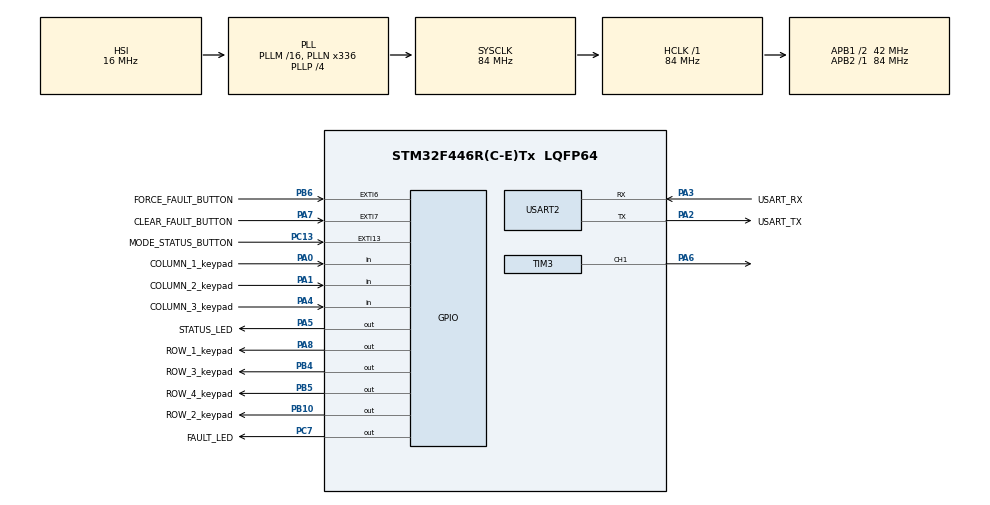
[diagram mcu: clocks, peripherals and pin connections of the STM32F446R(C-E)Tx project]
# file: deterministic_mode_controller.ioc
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Mcu.Family=STM32F4
Mcu.Name=STM32F446R(C-E)Tx
Mcu.Package=LQFP64
NVIC.EXTI15_10_IRQn=true\:0\:0\:false\:false\:true\:true\:true\:true
NVIC.EXTI9_5_IRQn=true\:0\:0\:false\:false\:true\:true\:true\:true
NVIC.PriorityGroup=NVIC_PRIORITYGROUP_0
NVIC.TIM2_IRQn=true\:0\:0\:false\:false\:true\:true\:true\:true
NVIC.USART2_IRQn=true\:0\:0\:false\:false\:true\:true\:true\:true
PA0-WKUP.GPIO_Label=COLUMN_1_keypad
PA0-WKUP.GPIO_PuPd=GPIO_PULLUP
PA0-WKUP.Signal=GPIO_Input
PA1.GPIO_Label=COLUMN_2_keypad
PA1.GPIO_PuPd=GPIO_PULLUP
PA1.Signal=GPIO_Input
PA13.GPIO_Label=TMS
PA13.Mode=Serial_Wire
PA13.Signal=SYS_JTMS-SWDIO
PA14.GPIO_Label=TCK
PA14.Mode=Serial_Wire
PA14.Signal=SYS_JTCK-SWCLK
PA2.GPIO_Label=USART_TX
PA2.Mode=Asynchronous
PA2.Signal=USART2_TX
PA3.GPIO_Label=USART_RX
PA3.Mode=Asynchronous
PA3.Signal=USART2_RX
PA4.GPIO_Label=COLUMN_3_keypad
PA4.GPIO_PuPd=GPIO_PULLUP
PA4.Signal=GPIO_Input
PA5.GPIO_Label=STATUS_LED
PA5.Signal=GPIO_Output
PA6.Signal=S_TIM3_CH1
PA7.GPIO_Label=CLEAR_FAULT_BUTTON
PA7.GPIO_ModeDefaultEXTI=GPIO_MODE_IT_FALLING
PA7.GPIO_PuPd=GPIO_PULLUP
PA7.Signal=GPXTI7
PA8.GPIO_Label=ROW_1_keypad
PA8.PinState=GPIO_PIN_SET
PA8.Signal=GPIO_Output
PB10.GPIO_Label=ROW_2_keypad
PB10.PinState=GPIO_PIN_SET
PB10.Signal=GPIO_Output
PB3.GPIO_Label=SWO
PB3.Signal=SYS_JTDO-SWO
PB4.GPIO_Label=ROW_3_keypad
PB4.PinState=GPIO_PIN_SET
PB4.Signal=GPIO_Output
PB5.GPIO_Label=ROW_4_keypad
PB5.PinState=GPIO_PIN_SET
PB5.Signal=GPIO_Output
PB6.GPIO_Label=FORCE_FAULT_BUTTON
PB6.GPIO_ModeDefaultEXTI=GPIO_MODE_IT_FALLING
PB6.GPIO_PuPd=GPIO_PULLUP
PB6.Signal=GPXTI6
PC13.GPIO_Label=MODE_STATUS_BUTTON
PC13.GPIO_ModeDefaultEXTI=GPIO_MODE_IT_FALLING
PC13.Signal=GPXTI13
PC14-OSC32_IN.Mode=LSE-External-Oscillator
PC14-OSC32_IN.Signal=RCC_OSC32_IN
PC15-OSC32_OUT.Mode=LSE-External-Oscillator
PC15-OSC32_OUT.Signal=RCC_OSC32_OUT
PC7.GPIO_Label=FAULT_LED
PC7.Signal=GPIO_Output
PH0-OSC_IN.Mode=HSE-External-Oscillator
PH0-OSC_IN.Signal=RCC_OSC_IN
PH1-OSC_OUT.Mode=HSE-External-Oscillator
PH1-OSC_OUT.Signal=RCC_OSC_OUT
ProjectManager.HeapSize=0x200
ProjectManager.StackSize=0x400
ProjectManager.TargetToolchain=STM32CubeIDE
RCC.48MHZClocksFreq_Value=84000000
RCC.AHBFreq_Value=84000000
RCC.APB1CLKDivider=RCC_HCLK_DIV2
RCC.APB1Freq_Value=42000000
RCC.APB1TimFreq_Value=84000000
RCC.APB2Freq_Value=84000000
RCC.APB2TimFreq_Value=84000000
RCC.CortexFreq_Value=84000000
RCC.FLatency-AdvancedSettings=FLASH_LATENCY_2
RCC.HCLKFreq_Value=84000000
RCC.HSE_VALUE=8000000
RCC.HSI_VALUE=16000000
RCC.PLLN=336
RCC.PLLP=RCC_PLLP_DIV4
RCC.SYSCLKFreq_VALUE=84000000
RCC.SYSCLKSource=RCC_SYSCLKSOURCE_PLLCLK
RCC.USBFreq_Value=168000000
RCC.VCOOutputFreq_Value=336000000
SH.S_TIM3_CH1.0=TIM3_CH1,PWM Generation1 CH1
TIM2.Period=9
TIM2.Prescaler=8399
TIM3.Channel-PWM\ Generation1\ CH1=TIM_CHANNEL_1
TIM3.Period=999
TIM3.Prescaler=83
USART2.VirtualMode=VM_ASYNC
VP_TIM2_VS_ClockSourceINT.Mode=Internal
VP_TIM3_VS_ClockSourceINT.Mode=Internal
board=NUCLEO-F446RE

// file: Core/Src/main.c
/* USER CODE BEGIN Header */
/**
  ******************************************************************************
  * @file           : main.c
  * @brief          : Main program body
  ******************************************************************************
  * @attention
  *
  * Copyright (c) 2026 STMicroelectronics.
  * All rights reserved.
  *
  * This software is licensed under terms that can be found in the LICENSE file
  * in the root directory of this software component.
  * If no LICENSE file comes with this software, it is provided AS-IS.
  *
  ******************************************************************************
  */
/* USER CODE END Header */
#include "main.h"

/* USER CODE BEGIN Includes */
#include <string.h>
#include <stdlib.h>

/* USER CODE END Includes */

/* USER CODE BEGIN PD */
#define RX_BUFFER_SIZE 64
/* USER CODE END PD */

TIM_HandleTypeDef htim2;
TIM_HandleTypeDef htim3;

UART_HandleTypeDef huart2;

/* USER CODE BEGIN PV */
volatile uint8_t mode_button_flag=0;

typedef enum{
	INIT=0,
	IDLE,
	MANUAL,
	LOCK,
	AUTO_RAMP,
	FAULT
}button_state;

typedef enum{
	PAUSE=0,
	BLINKING
}blink_state;

volatile blink_state blink_mode = PAUSE;
volatile button_state mode_button_state = INIT;
static uint8_t status_led_state=0;
volatile uint32_t system_tick=0;
static uint16_t toggleCounter=0;
static uint32_t state_entry_time=0;
static uint32_t last_button_press=0;
static uint32_t last_fault_button_press=0;
static uint32_t last_clear_button_press=0;
static uint32_t status_led_last_toggle_time=0;
static uint16_t brightness=0;
volatile uint8_t fault_flag=0;
volatile uint8_t clear_fault_flag=0;
static uint32_t last_keypad_scan=0;
static char key = 0;
static char last_key = 0;
static char detected = 0;
static uint16_t input_value = 0;
static uint8_t rx_buf[RX_BUFFER_SIZE];
volatile uint8_t rx_idx=0;
volatile uint8_t cmd_ready=0;
static uint8_t rx_byte;
volatile uint8_t enter_flag=0;
volatile uint8_t tx_echo_flag = 0;
volatile uint8_t tx_backspace_flag = 0;
volatile uint8_t tx_newline_flag = 0;
static uint8_t tx_char;
char handle_key(uint16_t row, uint8_t column);
char keypad_scan(void);
void process_key(char k);
void update_fault_led(void);
void change_button_mode(void);
void update_PWM_led(void);
void update_status_led(void);
void set_row(uint16_t row);
void set_row_high(void);
void Toggle_Status_Led(uint8_t led);
void status_double_blink(void);
void process_cli_cmd(void);
/* USER CODE END PV */

void SystemClock_Config(void);
static void MX_GPIO_Init(void);
static void MX_USART2_UART_Init(void);
static void MX_TIM2_Init(void);
static void MX_TIM3_Init(void);

int main(void)
{

  /* MCU Configuration--------------------------------------------------------*/

  /* Reset of all peripherals, Initializes the Flash interface and the Systick. */
  HAL_Init();

  /* Configure the system clock */
  SystemClock_Config();

  /* Initialize all configured peripherals */
  MX_GPIO_Init();
  MX_USART2_UART_Init();
  MX_TIM2_Init();
  MX_TIM3_Init();
  /* USER CODE BEGIN 2 */
  HAL_UART_Receive_IT(&huart2, &rx_byte, 1);
  HAL_Delay(1000);
  HAL_TIM_PWM_Start(&htim3, TIM_CHANNEL_1);
  HAL_TIM_Base_Start_IT(&htim2);
  state_entry_time = system_tick;
  HAL_GPIO_WritePin(STATUS_LED_GPIO_Port,STATUS_LED_Pin,GPIO_PIN_SET);
  /* USER CODE END 2 */

  /* Infinite loop */
  while (1)
  {

    /* USER CODE BEGIN 3 */
	  if(mode_button_state==INIT && system_tick-state_entry_time>=500)
	  {
		  HAL_GPIO_WritePin(STATUS_LED_GPIO_Port,STATUS_LED_Pin,GPIO_PIN_RESET);
		  mode_button_state = IDLE;
		  state_entry_time = system_tick;
	  }

	  if(fault_flag)
	  {
		  mode_button_state = FAULT;
		  fault_flag=0;
	  }
	  if(clear_fault_flag == 1 && mode_button_state == FAULT)
	  {
		  clear_fault_flag = 0;
		  mode_button_state = IDLE;
	  }

	  if(system_tick - last_keypad_scan >= 20)
	  {
		  last_keypad_scan = system_tick;
		  detected = keypad_scan();

		  if(detected !=0 && last_key == 0 && mode_button_state != LOCK)
		  {
			  key = detected;
			  process_key(key);
		  }
		  last_key = detected;
	  }
	  if(tx_echo_flag)
	  {
	      tx_echo_flag = 0;
	      HAL_UART_Transmit(&huart2, &tx_char, 1, HAL_MAX_DELAY);
	  }

	  if(tx_backspace_flag)
	  {
	      tx_backspace_flag = 0;
	      const char bs_seq[] = "\b \b";
	      HAL_UART_Transmit(&huart2, (uint8_t*)bs_seq, sizeof(bs_seq)-1, HAL_MAX_DELAY);
	  }

	  if(tx_newline_flag)
	  {
	      tx_newline_flag = 0;
	      const char newline[] = "\r\n";
	      HAL_UART_Transmit(&huart2, (uint8_t*)newline, sizeof(newline)-1, HAL_MAX_DELAY);
	  }
	  if(cmd_ready == 1 && mode_button_state == MANUAL)
	  {
		  cmd_ready = 0;
		  process_cli_cmd();
	  }

	  update_fault_led();
	  change_button_mode();
	  update_PWM_led();
	  update_status_led();
  /* USER CODE END 3 */
  }
}

void SystemClock_Config(void)
{
  RCC_OscInitTypeDef RCC_OscInitStruct = {0};
  RCC_ClkInitTypeDef RCC_ClkInitStruct = {0};

  /** Configure the main internal regulator output voltage
  */
  __HAL_RCC_PWR_CLK_ENABLE();
  __HAL_PWR_VOLTAGESCALING_CONFIG(PWR_REGULATOR_VOLTAGE_SCALE3);

  /** Initializes the RCC Oscillators according to the specified parameters
  * in the RCC_OscInitTypeDef structure.
  */
  RCC_OscInitStruct.OscillatorType = RCC_OSCILLATORTYPE_HSI;
  RCC_OscInitStruct.HSIState = RCC_HSI_ON;
  RCC_OscInitStruct.HSICalibrationValue = RCC_HSICALIBRATION_DEFAULT;
  RCC_OscInitStruct.PLL.PLLState = RCC_PLL_ON;
  RCC_OscInitStruct.PLL.PLLSource = RCC_PLLSOURCE_HSI;
  RCC_OscInitStruct.PLL.PLLM = 16;
  RCC_OscInitStruct.PLL.PLLN = 336;
  RCC_OscInitStruct.PLL.PLLP = RCC_PLLP_DIV4;
  RCC_OscInitStruct.PLL.PLLQ = 2;
  RCC_OscInitStruct.PLL.PLLR = 2;
  if (HAL_RCC_OscConfig(&RCC_OscInitStruct) != HAL_OK)
  {
    Error_Handler();
  }

  /** Initializes the CPU, AHB and APB buses clocks
  */
  RCC_ClkInitStruct.ClockType = RCC_CLOCKTYPE_HCLK|RCC_CLOCKTYPE_SYSCLK
                              |RCC_CLOCKTYPE_PCLK1|RCC_CLOCKTYPE_PCLK2;
  RCC_ClkInitStruct.SYSCLKSource = RCC_SYSCLKSOURCE_PLLCLK;
  RCC_ClkInitStruct.AHBCLKDivider = RCC_SYSCLK_DIV1;
  RCC_ClkInitStruct.APB1CLKDivider = RCC_HCLK_DIV2;
  RCC_ClkInitStruct.APB2CLKDivider = RCC_HCLK_DIV1;

  if (HAL_RCC_ClockConfig(&RCC_ClkInitStruct, FLASH_LATENCY_2) != HAL_OK)
  {
    Error_Handler();
  }
}

static void MX_TIM2_Init(void)
{

  TIM_ClockConfigTypeDef sClockSourceConfig = {0};
  TIM_MasterConfigTypeDef sMasterConfig = {0};

  htim2.Instance = TIM2;
  htim2.Init.Prescaler = 8399;
  htim2.Init.CounterMode = TIM_COUNTERMODE_UP;
  htim2.Init.Period = 9;
  htim2.Init.ClockDivision = TIM_CLOCKDIVISION_DIV1;
  htim2.Init.AutoReloadPreload = TIM_AUTORELOAD_PRELOAD_DISABLE;
  if (HAL_TIM_Base_Init(&htim2) != HAL_OK)
  {
    Error_Handler();
  }
  sClockSourceConfig.ClockSource = TIM_CLOCKSOURCE_INTERNAL;
  if (HAL_TIM_ConfigClockSource(&htim2, &sClockSourceConfig) != HAL_OK)
  {
    Error_Handler();
  }
  sMasterConfig.MasterOutputTrigger = TIM_TRGO_RESET;
  sMasterConfig.MasterSlaveMode = TIM_MASTERSLAVEMODE_DISABLE;
  if (HAL_TIMEx_MasterConfigSynchronization(&htim2, &sMasterConfig) != HAL_OK)
  {
    Error_Handler();
  }

}

static void MX_TIM3_Init(void)
{

  TIM_ClockConfigTypeDef sClockSourceConfig = {0};
  TIM_MasterConfigTypeDef sMasterConfig = {0};
  TIM_OC_InitTypeDef sConfigOC = {0};

  htim3.Instance = TIM3;
  htim3.Init.Prescaler = 83;
  htim3.Init.CounterMode = TIM_COUNTERMODE_UP;
  htim3.Init.Period = 999;
  htim3.Init.ClockDivision = TIM_CLOCKDIVISION_DIV1;
  htim3.Init.AutoReloadPreload = TIM_AUTORELOAD_PRELOAD_DISABLE;
  if (HAL_TIM_Base_Init(&htim3) != HAL_OK)
  {
    Error_Handler();
  }
  sClockSourceConfig.ClockSource = TIM_CLOCKSOURCE_INTERNAL;
  if (HAL_TIM_ConfigClockSource(&htim3, &sClockSourceConfig) != HAL_OK)
  {
    Error_Handler();
  }
  if (HAL_TIM_PWM_Init(&htim3) != HAL_OK)
  {
    Error_Handler();
  }
  sMasterConfig.MasterOutputTrigger = TIM_TRGO_RESET;
  sMasterConfig.MasterSlaveMode = TIM_MASTERSLAVEMODE_DISABLE;
  if (HAL_TIMEx_MasterConfigSynchronization(&htim3, &sMasterConfig) != HAL_OK)
  {
    Error_Handler();
  }
  sConfigOC.OCMode = TIM_OCMODE_PWM1;
  sConfigOC.Pulse = 0;
  sConfigOC.OCPolarity = TIM_OCPOLARITY_HIGH;
  sConfigOC.OCFastMode = TIM_OCFAST_DISABLE;
  if (HAL_TIM_PWM_ConfigChannel(&htim3, &sConfigOC, TIM_CHANNEL_1) != HAL_OK)
  {
    Error_Handler();
  }
  HAL_TIM_MspPostInit(&htim3);

}

static void MX_USART2_UART_Init(void)
{

  huart2.Instance = USART2;
  huart2.Init.BaudRate = 115200;
  huart2.Init.WordLength = UART_WORDLENGTH_8B;
  huart2.Init.StopBits = UART_STOPBITS_1;
  huart2.Init.Parity = UART_PARITY_NONE;
  huart2.Init.Mode = UART_MODE_TX_RX;
  huart2.Init.HwFlowCtl = UART_HWCONTROL_NONE;
  huart2.Init.OverSampling = UART_OVERSAMPLING_16;
  if (HAL_UART_Init(&huart2) != HAL_OK)
  {
    Error_Handler();
  }

}

static void MX_GPIO_Init(void)
{
  GPIO_InitTypeDef GPIO_InitStruct = {0};

  /* GPIO Ports Clock Enable */
  __HAL_RCC_GPIOC_CLK_ENABLE();
  __HAL_RCC_GPIOH_CLK_ENABLE();
  __HAL_RCC_GPIOA_CLK_ENABLE();
  __HAL_RCC_GPIOB_CLK_ENABLE();

  /*Configure GPIO pin Output Level */
  HAL_GPIO_WritePin(STATUS_LED_GPIO_Port, STATUS_LED_Pin, GPIO_PIN_RESET);

  /*Configure GPIO pin Output Level */
  HAL_GPIO_WritePin(GPIOB, ROW_2_keypad_Pin|ROW_3_keypad_Pin|ROW_4_keypad_Pin, GPIO_PIN_SET);

  /*Configure GPIO pin Output Level */
  HAL_GPIO_WritePin(FAULT_LED_GPIO_Port, FAULT_LED_Pin, GPIO_PIN_RESET);

  /*Configure GPIO pin Output Level */
  HAL_GPIO_WritePin(ROW_1_keypad_GPIO_Port, ROW_1_keypad_Pin, GPIO_PIN_SET);

  /*Configure GPIO pin : MODE_STATUS_BUTTON_Pin */
  GPIO_InitStruct.Pin = MODE_STATUS_BUTTON_Pin;
  GPIO_InitStruct.Mode = GPIO_MODE_IT_FALLING;
  GPIO_InitStruct.Pull = GPIO_NOPULL;
  HAL_GPIO_Init(MODE_STATUS_BUTTON_GPIO_Port, &GPIO_InitStruct);

  /*Configure GPIO pins : COLUMN_1_keypad_Pin COLUMN_2_keypad_Pin COLUMN_3_keypad_Pin */
  GPIO_InitStruct.Pin = COLUMN_1_keypad_Pin|COLUMN_2_keypad_Pin|COLUMN_3_keypad_Pin;
  GPIO_InitStruct.Mode = GPIO_MODE_INPUT;
  GPIO_InitStruct.Pull = GPIO_PULLUP;
  HAL_GPIO_Init(GPIOA, &GPIO_InitStruct);

  /*Configure GPIO pins : STATUS_LED_Pin ROW_1_keypad_Pin */
  GPIO_InitStruct.Pin = STATUS_LED_Pin|ROW_1_keypad_Pin;
  GPIO_InitStruct.Mode = GPIO_MODE_OUTPUT_PP;
  GPIO_InitStruct.Pull = GPIO_NOPULL;
  GPIO_InitStruct.Speed = GPIO_SPEED_FREQ_LOW;
  HAL_GPIO_Init(GPIOA, &GPIO_InitStruct);

  /*Configure GPIO pin : CLEAR_FAULT_BUTTON_Pin */
  GPIO_InitStruct.Pin = CLEAR_FAULT_BUTTON_Pin;
  GPIO_InitStruct.Mode = GPIO_MODE_IT_FALLING;
  GPIO_InitStruct.Pull = GPIO_PULLUP;
  HAL_GPIO_Init(CLEAR_FAULT_BUTTON_GPIO_Port, &GPIO_InitStruct);

  /*Configure GPIO pins : ROW_2_keypad_Pin ROW_3_keypad_Pin ROW_4_keypad_Pin */
  GPIO_InitStruct.Pin = ROW_2_keypad_Pin|ROW_3_keypad_Pin|ROW_4_keypad_Pin;
  GPIO_InitStruct.Mode = GPIO_MODE_OUTPUT_PP;
  GPIO_InitStruct.Pull = GPIO_NOPULL;
  GPIO_InitStruct.Speed = GPIO_SPEED_FREQ_LOW;
  HAL_GPIO_Init(GPIOB, &GPIO_InitStruct);

  /*Configure GPIO pin : FAULT_LED_Pin */
  GPIO_InitStruct.Pin = FAULT_LED_Pin;
  GPIO_InitStruct.Mode = GPIO_MODE_OUTPUT_PP;
  GPIO_InitStruct.Pull = GPIO_NOPULL;
  GPIO_InitStruct.Speed = GPIO_SPEED_FREQ_LOW;
  HAL_GPIO_Init(FAULT_LED_GPIO_Port, &GPIO_InitStruct);

  /*Configure GPIO pin : FORCE_FAULT_BUTTON_Pin */
  GPIO_InitStruct.Pin = FORCE_FAULT_BUTTON_Pin;
  GPIO_InitStruct.Mode = GPIO_MODE_IT_FALLING;
  GPIO_InitStruct.Pull = GPIO_PULLUP;
  HAL_GPIO_Init(FORCE_FAULT_BUTTON_GPIO_Port, &GPIO_InitStruct);

  /* EXTI interrupt init*/
  HAL_NVIC_SetPriority(EXTI9_5_IRQn, 0, 0);
  HAL_NVIC_EnableIRQ(EXTI9_5_IRQn);

  HAL_NVIC_SetPriority(EXTI15_10_IRQn, 0, 0);
  HAL_NVIC_EnableIRQ(EXTI15_10_IRQn);

}

/* USER CODE BEGIN 4 */
void change_button_mode()
{
	if(mode_button_state == FAULT)
	{
		return;
	}
	else if(mode_button_flag)
	{
		mode_button_flag=0;
		switch(mode_button_state)
		{
		case IDLE:
			mode_button_state = MANUAL;
			state_entry_time = system_tick;
			brightness=0;
			__HAL_TIM_SET_COMPARE(&htim3, TIM_CHANNEL_1, brightness);
			break;

		case MANUAL:
			input_value = 0;
			mode_button_state = LOCK;
			state_entry_time = system_tick;
			break;

		case LOCK:
			mode_button_state = AUTO_RAMP;
			state_entry_time = system_tick;
			blink_mode = PAUSE;
			status_led_last_toggle_time = system_tick;
			toggleCounter = 0;
			break;

		case AUTO_RAMP:
			mode_button_state = IDLE;
			state_entry_time = system_tick;
			brightness = 0;
			break;

		default:
			mode_button_state = IDLE;
			state_entry_time = system_tick;
			break;
		}
	}

}

void process_cli_cmd(void)
{
	uint16_t value = atoi((char*)rx_buf);

	if(value <= 999)
	{
		brightness = value;
	}
	const char msg[] = "Enter LED Brightness (0-999): ";
	HAL_UART_Transmit(&huart2, (uint8_t*)msg, strlen(msg), HAL_MAX_DELAY);
}

char keypad_scan()
{
	for(uint16_t row=0; row<4; row++)
	{
		set_row_high();
		set_row(row);

		if(HAL_GPIO_ReadPin(COLUMN_1_keypad_GPIO_Port, COLUMN_1_keypad_Pin) == GPIO_PIN_RESET)
		{
			return handle_key(row, 1);
		}
		else if(HAL_GPIO_ReadPin(COLUMN_2_keypad_GPIO_Port, COLUMN_2_keypad_Pin) == GPIO_PIN_RESET)
		{
			return handle_key(row, 2);
		}
		else if(HAL_GPIO_ReadPin(COLUMN_3_keypad_GPIO_Port, COLUMN_3_keypad_Pin) == GPIO_PIN_RESET)
		{
			return handle_key(row, 3);
		}
	}
	return 0;
}

void set_row_high()
{
	HAL_GPIO_WritePin(ROW_1_keypad_GPIO_Port, ROW_1_keypad_Pin, GPIO_PIN_SET);
	HAL_GPIO_WritePin(ROW_2_keypad_GPIO_Port, ROW_2_keypad_Pin, GPIO_PIN_SET);
	HAL_GPIO_WritePin(ROW_3_keypad_GPIO_Port, ROW_3_keypad_Pin, GPIO_PIN_SET);
	HAL_GPIO_WritePin(ROW_4_keypad_GPIO_Port, ROW_4_keypad_Pin, GPIO_PIN_SET);

}

void set_row(uint16_t row)
{
	if(row == 0)
	{
		HAL_GPIO_WritePin(ROW_1_keypad_GPIO_Port, ROW_1_keypad_Pin, GPIO_PIN_RESET);
	}
	else if(row == 1)
	{
		HAL_GPIO_WritePin(ROW_2_keypad_GPIO_Port, ROW_2_keypad_Pin, GPIO_PIN_RESET);
	}
	else if(row == 2)
	{
		HAL_GPIO_WritePin(ROW_3_keypad_GPIO_Port, ROW_3_keypad_Pin, GPIO_PIN_RESET);
	}
	else if(row == 3)
	{
		HAL_GPIO_WritePin(ROW_4_keypad_GPIO_Port, ROW_4_keypad_Pin, GPIO_PIN_RESET);
	}
}

char handle_key(uint16_t row, uint8_t column)
{
	if(row == 0 && column == 1){ return '1';}
	else if(row == 0 && column == 2){ return '2';}
	else if(row == 0 && column == 3){ return '3';}
	else if(row == 1 && column == 1){ return '4';}
	else if(row == 1 && column == 2){ return '5';}
	else if(row == 1 && column == 3){ return '6';}
	else if(row == 2 && column == 1){ return '7';}
	else if(row == 2 && column == 2){ return '8';}
	else if(row == 2 && column == 3){ return '9';}
	else if(row == 3 && column == 1){ return '*';}
	else if(row == 3 && column == 2){ return '0';}
	else if(row == 3 && column == 3){ return '#';}
	return 0;
}

void process_key(char k)
{
	if(k >= '0' && k <= '9')
	{
		input_value = (input_value * 10) + (k - '0');
		if(input_value >= 999){input_value = 999;}
	}
	else if(k == '#')
	{
		brightness = input_value;
		input_value = 0;
	}
	else if(k == '*')
	{
		input_value = 0;
	}

}

void update_fault_led()
{
	switch(mode_button_state)
	{
    case IDLE:
    	HAL_GPIO_WritePin(FAULT_LED_GPIO_Port, FAULT_LED_Pin, GPIO_PIN_RESET);
    	break;

    case MANUAL:
    	HAL_GPIO_WritePin(FAULT_LED_GPIO_Port, FAULT_LED_Pin, GPIO_PIN_RESET);
    	break;

    case LOCK:
    	HAL_GPIO_WritePin(FAULT_LED_GPIO_Port, FAULT_LED_Pin, GPIO_PIN_RESET);
    	break;

    case AUTO_RAMP:
    	HAL_GPIO_WritePin(FAULT_LED_GPIO_Port, FAULT_LED_Pin, GPIO_PIN_RESET);
       	break;

    case FAULT:
    	HAL_GPIO_WritePin(FAULT_LED_GPIO_Port, FAULT_LED_Pin, GPIO_PIN_SET);
    	break;

    default:
    	HAL_GPIO_WritePin(FAULT_LED_GPIO_Port, FAULT_LED_Pin, GPIO_PIN_RESET);
    	break;
	}
}

void update_PWM_led()
{
	switch(mode_button_state)
	{
    case IDLE:
    	brightness=0;
    	__HAL_TIM_SET_COMPARE(&htim3, TIM_CHANNEL_1, brightness);
    	break;

    case MANUAL:
    	__HAL_TIM_SET_COMPARE(&htim3, TIM_CHANNEL_1, brightness);
    	break;

    case LOCK:
    	__HAL_TIM_SET_COMPARE(&htim3, TIM_CHANNEL_1, brightness);
    	break;

    case AUTO_RAMP:
    	static uint32_t last_ramp_time=0;
    	static uint8_t ramp_flag=0;
    	if(system_tick - last_ramp_time >= 10)
    	{
    		last_ramp_time = system_tick;
    		if(ramp_flag==0)
    		{
    			brightness++;
    			if(brightness>=999)
    			{
    				ramp_flag=1;
    				brightness=999;
    			}
    		}
    		else
    		{
    			if(brightness>0)
    			{
    				brightness--;
    			}
    			else
    			{
    				brightness=0;
    				ramp_flag=0;
    			}
    		}
			__HAL_TIM_SET_COMPARE(&htim3, TIM_CHANNEL_1, brightness);
    	}
       	break;

    case FAULT:
    	brightness=0;
    	__HAL_TIM_SET_COMPARE(&htim3, TIM_CHANNEL_1, brightness);
    	break;

    default:
    	brightness=0;
    	__HAL_TIM_SET_COMPARE(&htim3, TIM_CHANNEL_1, brightness);
    	break;
	}
}

void update_status_led()
{
	switch(mode_button_state)
	{
    case IDLE:
    	if(system_tick - status_led_last_toggle_time>=500)
    	{
    		status_led_last_toggle_time = system_tick;
    		HAL_GPIO_TogglePin(STATUS_LED_GPIO_Port,STATUS_LED_Pin);
    	}
    	break;

    case MANUAL:
    	status_led_state=1;
    	Toggle_Status_Led(status_led_state);
    	break;

    case LOCK:
    	status_double_blink();
    	break;

    case AUTO_RAMP:
    	if(system_tick - status_led_last_toggle_time>=200)
    	{
    		status_led_last_toggle_time = system_tick;
    		HAL_GPIO_TogglePin(STATUS_LED_GPIO_Port,STATUS_LED_Pin);
    	}
       	break;

    case FAULT:
    	status_led_state=0;
    	Toggle_Status_Led(status_led_state);
    	status_led_last_toggle_time = system_tick;
    	break;

    default:
    	toggleCounter=0;
    	break;
	}
}

void status_double_blink()
{
	switch(blink_mode)
	{
	case PAUSE:
		status_led_state=0;
		Toggle_Status_Led(status_led_state);
		if(system_tick-status_led_last_toggle_time>=500)
		{
			status_led_last_toggle_time = system_tick;
			toggleCounter=0;
			blink_mode = BLINKING;
		}
		break;

	case BLINKING:
		if(system_tick-status_led_last_toggle_time>=200)
		{
			status_led_last_toggle_time = system_tick;
			status_led_state^=1;
			Toggle_Status_Led(status_led_state);
			toggleCounter++;
			if(toggleCounter>=4)
			{
				toggleCounter=0;
				blink_mode = PAUSE;
			}

		}
		break;

	default:
		toggleCounter=0;
		status_led_state=0;
		Toggle_Status_Led(status_led_state);

	}
}

void Toggle_Status_Led(uint8_t led)
{
	if(led==0)
	{
		HAL_GPIO_WritePin(STATUS_LED_GPIO_Port,STATUS_LED_Pin,GPIO_PIN_RESET);
	}
	else
	{
		HAL_GPIO_WritePin(STATUS_LED_GPIO_Port,STATUS_LED_Pin,GPIO_PIN_SET);
	}
}

void HAL_GPIO_EXTI_Callback(uint16_t GPIO_Pin)
{
	if(GPIO_Pin == MODE_STATUS_BUTTON_Pin)
	{
		if(system_tick - last_button_press >= 200)
		{
			mode_button_flag=1;
			last_button_press=system_tick;
		}
	}
	else if(GPIO_Pin == FORCE_FAULT_BUTTON_Pin)
	{
		if(system_tick - last_fault_button_press >= 200)
		{
			fault_flag=1;
			last_fault_button_press = system_tick;
		}
	}
	else if(GPIO_Pin == CLEAR_FAULT_BUTTON_Pin)
	{
		if(system_tick - last_clear_button_press >= 200)
		{
			if(mode_button_state == FAULT)
			{
				clear_fault_flag=1;
				last_clear_button_press = system_tick;
			}
		}

	}
}

void HAL_TIM_PeriodElapsedCallback(TIM_HandleTypeDef *htim)
{
	if(htim->Instance == TIM2)
	{
		system_tick++;
	}
}

void HAL_UART_RxCpltCallback(UART_HandleTypeDef *huart)
{
	if(huart->Instance == USART2)
	{
		if(cmd_ready == 0)
		{
			if(rx_byte == '\n' || rx_byte == '\r')
			{
				rx_buf[rx_idx] = '\0';
				cmd_ready = 1;
				rx_idx = 0;
				tx_newline_flag = 1;
			}
			else if(rx_byte == '\b' || rx_byte == 127)
			{
				if(rx_idx > 0)
				{
					rx_idx --;
					rx_buf[rx_idx] = '\0';
					tx_backspace_flag = 1;
				}
			}
			else
			{
				if(rx_idx < RX_BUFFER_SIZE - 1)
				{
					rx_buf[rx_idx] = rx_byte;
					rx_idx++;
					tx_char = rx_byte;
					tx_echo_flag = 1;
				}
				else
				{
					rx_idx = 0;
				}
			}
		}
		HAL_UART_Receive_IT(&huart2, &rx_byte, 1);
	}
}
/* USER CODE END 4 */

void Error_Handler(void)
{
  __disable_irq();
  while (1)
  {
  }
}
